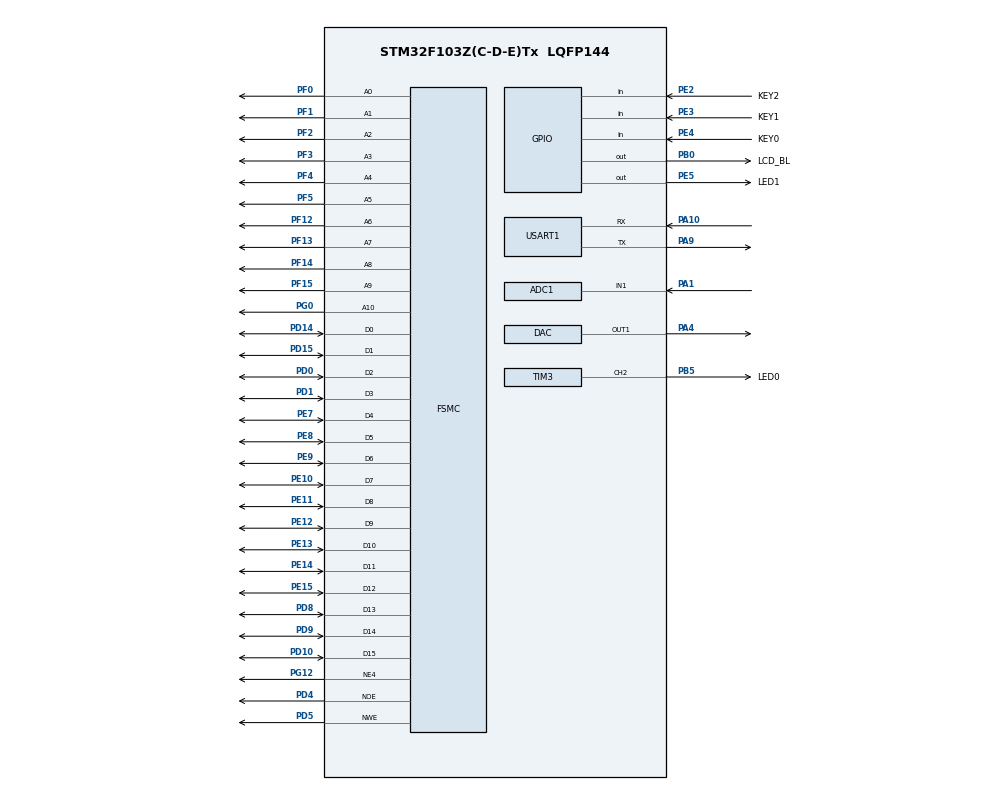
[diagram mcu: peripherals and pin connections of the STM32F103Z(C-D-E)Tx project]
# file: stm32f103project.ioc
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ADC1.Channel-0\#ChannelRegularConversion=ADC_CHANNEL_1
ADC1.ContinuousConvMode=DISABLE
ADC1.NbrOfConversionFlag=1
ADC1.Rank-0\#ChannelRegularConversion=1
ADC1.SamplingTime-0\#ChannelRegularConversion=ADC_SAMPLETIME_239CYCLES_5
ADC1.master=1
DAC.DAC_Trigger=DAC_TRIGGER_T2_TRGO
Dma.ADC1.3.Direction=DMA_PERIPH_TO_MEMORY
Dma.ADC1.3.Instance=DMA1_Channel1
Dma.ADC1.3.MemDataAlignment=DMA_MDATAALIGN_HALFWORD
Dma.ADC1.3.MemInc=DMA_MINC_ENABLE
Dma.ADC1.3.Mode=DMA_CIRCULAR
Dma.ADC1.3.PeriphDataAlignment=DMA_PDATAALIGN_HALFWORD
Dma.ADC1.3.PeriphInc=DMA_PINC_DISABLE
Dma.ADC1.3.Priority=DMA_PRIORITY_LOW
Dma.DAC_CH1.2.Direction=DMA_MEMORY_TO_PERIPH
Dma.DAC_CH1.2.Instance=DMA2_Channel3
Dma.DAC_CH1.2.MemDataAlignment=DMA_MDATAALIGN_HALFWORD
Dma.DAC_CH1.2.MemInc=DMA_MINC_ENABLE
Dma.DAC_CH1.2.Mode=DMA_CIRCULAR
Dma.DAC_CH1.2.PeriphDataAlignment=DMA_PDATAALIGN_HALFWORD
Dma.DAC_CH1.2.PeriphInc=DMA_PINC_DISABLE
Dma.DAC_CH1.2.Priority=DMA_PRIORITY_LOW
Dma.Request0=USART1_TX
Dma.Request1=USART1_RX
Dma.Request2=DAC_CH1
Dma.Request3=ADC1
Dma.USART1_RX.1.Direction=DMA_PERIPH_TO_MEMORY
Dma.USART1_RX.1.Instance=DMA1_Channel5
Dma.USART1_RX.1.MemDataAlignment=DMA_MDATAALIGN_BYTE
Dma.USART1_RX.1.MemInc=DMA_MINC_ENABLE
Dma.USART1_RX.1.Mode=DMA_CIRCULAR
Dma.USART1_RX.1.PeriphDataAlignment=DMA_PDATAALIGN_BYTE
Dma.USART1_RX.1.PeriphInc=DMA_PINC_DISABLE
Dma.USART1_RX.1.Priority=DMA_PRIORITY_LOW
Dma.USART1_TX.0.Direction=DMA_MEMORY_TO_PERIPH
Dma.USART1_TX.0.Instance=DMA1_Channel4
Dma.USART1_TX.0.MemDataAlignment=DMA_MDATAALIGN_BYTE
Dma.USART1_TX.0.MemInc=DMA_MINC_ENABLE
Dma.USART1_TX.0.Mode=DMA_NORMAL
Dma.USART1_TX.0.PeriphDataAlignment=DMA_PDATAALIGN_BYTE
Dma.USART1_TX.0.PeriphInc=DMA_PINC_DISABLE
Dma.USART1_TX.0.Priority=DMA_PRIORITY_LOW
FSMC.AddressSetupTime1=1
FSMC.BusTurnAroundDuration1=0
FSMC.DataSetupTime1=15
FSMC.WriteOperation1=FSMC_WRITE_OPERATION_ENABLE
Mcu.Family=STM32F1
Mcu.Name=STM32F103Z(C-D-E)Tx
Mcu.Package=LQFP144
NVIC.ADC1_2_IRQn=true\:0\:0\:false\:false\:true\:true\:true\:true
NVIC.DMA1_Channel1_IRQn=true\:0\:0\:false\:false\:true\:false\:true\:true
NVIC.DMA1_Channel4_IRQn=true\:0\:0\:false\:false\:true\:false\:true\:true
NVIC.DMA1_Channel5_IRQn=true\:0\:0\:false\:false\:true\:false\:true\:true
NVIC.DMA2_Channel3_IRQn=true\:0\:0\:false\:false\:true\:false\:true\:true
NVIC.PriorityGroup=NVIC_PRIORITYGROUP_4
NVIC.USART1_IRQn=true\:0\:0\:false\:false\:true\:true\:true\:true
OSC_IN.Mode=HSE-External-Oscillator
OSC_IN.Signal=RCC_OSC_IN
OSC_OUT.Mode=HSE-External-Oscillator
OSC_OUT.Signal=RCC_OSC_OUT
PA1.Signal=ADCx_IN1
PA10.Mode=Asynchronous
PA10.Signal=USART1_RX
PA13.Mode=Serial_Wire
PA13.Signal=SYS_JTMS-SWDIO
PA14.Mode=Serial_Wire
PA14.Signal=SYS_JTCK-SWCLK
PA4.Signal=COMP_DAC1_group
PA9.Mode=Asynchronous
PA9.Signal=USART1_TX
PB0.GPIO_Label=LCD_BL
PB0.GPIO_PuPd=GPIO_PULLDOWN
PB0.Signal=GPIO_Output
PB5.GPIO_Label=LED0
PB5.Signal=S_TIM3_CH2
PD0.Signal=FSMC_D2_DA2
PD1.Signal=FSMC_D3_DA3
PD10.Signal=FSMC_D15_DA15
PD14.Signal=FSMC_D0_DA0
PD15.Signal=FSMC_D1_DA1
PD4.Signal=FSMC_NOE
PD5.Signal=FSMC_NWE
PD8.Signal=FSMC_D13_DA13
PD9.Signal=FSMC_D14_DA14
PE10.Signal=FSMC_D7_DA7
PE11.Signal=FSMC_D8_DA8
PE12.Signal=FSMC_D9_DA9
PE13.Signal=FSMC_D10_DA10
PE14.Signal=FSMC_D11_DA11
PE15.Signal=FSMC_D12_DA12
PE2.GPIO_Label=KEY2
PE2.GPIO_PuPd=GPIO_PULLUP
PE2.Signal=GPIO_Input
PE3.GPIO_Label=KEY1
PE3.GPIO_PuPd=GPIO_PULLUP
PE3.Signal=GPIO_Input
PE4.GPIO_Label=KEY0
PE4.GPIO_PuPd=GPIO_PULLUP
PE4.Signal=GPIO_Input
PE5.GPIO_Label=LED1
PE5.PinState=GPIO_PIN_RESET
PE5.Signal=GPIO_Output
PE7.Signal=FSMC_D4_DA4
PE8.Signal=FSMC_D5_DA5
PE9.Signal=FSMC_D6_DA6
PF0.Signal=FSMC_A0
PF1.Signal=FSMC_A1
PF12.Signal=FSMC_A6
PF13.Signal=FSMC_A7
PF14.Signal=FSMC_A8
PF15.Signal=FSMC_A9
PF2.Signal=FSMC_A2
PF3.Signal=FSMC_A3
PF4.Signal=FSMC_A4
PF5.Signal=FSMC_A5
PG0.Signal=FSMC_A10
PG12.Mode=NorPsramChipSelect4_1
PG12.Signal=FSMC_NE4
ProjectManager.HeapSize=0x200
ProjectManager.StackSize=0x400
ProjectManager.TargetToolchain=CMake
RCC.ADCPresc=RCC_ADCPCLK2_DIV8
RCC.AHBFreq_Value=72000000
RCC.APB1CLKDivider=RCC_HCLK_DIV2
RCC.APB1Freq_Value=36000000
RCC.APB1TimFreq_Value=72000000
RCC.APB2Freq_Value=72000000
RCC.APB2TimFreq_Value=72000000
RCC.EnbaleCSS=true
RCC.HCLKFreq_Value=72000000
RCC.PLLMUL=RCC_PLL_MUL9
RCC.PLLSourceVirtual=RCC_PLLSOURCE_HSE
RCC.SYSCLKFreq_VALUE=72000000
RCC.SYSCLKSource=RCC_SYSCLKSOURCE_PLLCLK
RCC.USBFreq_Value=72000000
SH.ADCx_IN1.0=ADC1_IN1,IN1
SH.COMP_DAC1_group.0=DAC_OUT1,DAC_OUT1
SH.FSMC_A0.0=FSMC_A0,11b-a1
SH.FSMC_A1.0=FSMC_A1,11b-a1
SH.FSMC_A10.0=FSMC_A10,11b-a1
SH.FSMC_A2.0=FSMC_A2,11b-a1
SH.FSMC_A3.0=FSMC_A3,11b-a1
SH.FSMC_A4.0=FSMC_A4,11b-a1
SH.FSMC_A5.0=FSMC_A5,11b-a1
SH.FSMC_A6.0=FSMC_A6,11b-a1
SH.FSMC_A7.0=FSMC_A7,11b-a1
SH.FSMC_A8.0=FSMC_A8,11b-a1
SH.FSMC_A9.0=FSMC_A9,11b-a1
SH.FSMC_D0_DA0.0=FSMC_D0,16b-d1
SH.FSMC_D10_DA10.0=FSMC_D10,16b-d1
SH.FSMC_D11_DA11.0=FSMC_D11,16b-d1
SH.FSMC_D12_DA12.0=FSMC_D12,16b-d1
SH.FSMC_D13_DA13.0=FSMC_D13,16b-d1
SH.FSMC_D14_DA14.0=FSMC_D14,16b-d1
SH.FSMC_D15_DA15.0=FSMC_D15,16b-d1
SH.FSMC_D1_DA1.0=FSMC_D1,16b-d1
SH.FSMC_D2_DA2.0=FSMC_D2,16b-d1
SH.FSMC_D3_DA3.0=FSMC_D3,16b-d1
SH.FSMC_D4_DA4.0=FSMC_D4,16b-d1
SH.FSMC_D5_DA5.0=FSMC_D5,16b-d1
SH.FSMC_D6_DA6.0=FSMC_D6,16b-d1
SH.FSMC_D7_DA7.0=FSMC_D7,16b-d1
SH.FSMC_D8_DA8.0=FSMC_D8,16b-d1
SH.FSMC_D9_DA9.0=FSMC_D9,16b-d1
SH.FSMC_NOE.0=FSMC_NOE,Sram1
SH.FSMC_NWE.0=FSMC_NWE,Sram1
SH.S_TIM3_CH2.0=TIM3_CH2,PWM Generation2 CH2
TIM2.Period=38
TIM2.Prescaler=7
TIM2.TIM_MasterOutputTrigger=TIM_TRGO_UPDATE
TIM3.Channel-PWM\ Generation2\ CH2=TIM_CHANNEL_2
TIM3.OCPolarity_2=TIM_OCPOLARITY_LOW
TIM3.Period=999
TIM3.Prescaler=63
USART1.VirtualMode=VM_ASYNC
VP_TIM2_VS_ClockSourceINT.Mode=Internal
VP_TIM3_VS_ClockSourceINT.Mode=Internal
board=custom

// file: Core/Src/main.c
/* USER CODE BEGIN Header */
/**
  ******************************************************************************
  * @file           : main.c
  * @brief          : Main program body
  ******************************************************************************
  * @attention
  *
  * Copyright (c) 2026 STMicroelectronics.
  * All rights reserved.
  *
  * This software is licensed under terms that can be found in the LICENSE file
  * in the root directory of this software component.
  * If no LICENSE file comes with this software, it is provided AS-IS.
  *
  ******************************************************************************
  */
/* USER CODE END Header */
#include "main.h"

/* USER CODE BEGIN Includes */
#include "led.h"
#include "key.h"
#include "usart.h"
#include "adc.h"
#include "lcd.h"
#include "spectrum.h"
/* USER CODE END Includes */

SRAM_HandleTypeDef hsram1;

/* USER CODE BEGIN PV */

volatile uint32_t u32Tick = 0; // System Tick
uint16_t uChangeable_Resistor_Voltage = 0;
uint16_t uTestValue = 0;
/* USER CODE END PV */

void SystemClock_Config(void);
static void MX_GPIO_Init(void);
static void MX_DMA_Init(void);
static void MX_USART1_UART_Init(void);
static void MX_TIM3_Init(void);
static void MX_ADC1_Init(void);
static void MX_FSMC_Init(void);
static void MX_DAC_Init(void);
static void MX_TIM2_Init(void);

int main(void)
{

  /* MCU Configuration--------------------------------------------------------*/

  /* Reset of all peripherals, Initializes the Flash interface and the Systick. */
  HAL_Init();

  /* USER CODE BEGIN Init */

  // uint32_t u32LED0_Tick = 0; // 紀錄上一次LED0動作的時間
  ekeyKeyEvent ekeyEvent0; // 紀錄key0事件
  ekeyKeyEvent ekeyEvent1; // 紀錄key1事件
  eusartUSART_Cmd eusartCMD; // 紀錄串口RX收到什麼指令

  /* USER CODE END Init */

  /* Configure the system clock */
  SystemClock_Config();

  /* USER CODE BEGIN SysInit */
  LL_SYSTICK_EnableIT();
  /* USER CODE END SysInit */

  /* Initialize all configured peripherals */
  MX_GPIO_Init();
  MX_DMA_Init();
  MX_USART1_UART_Init();
  MX_TIM3_Init();
  MX_ADC1_Init();
  MX_FSMC_Init();
  MX_DAC_Init();
  MX_TIM2_Init();
  /* USER CODE BEGIN 2 */

  // LL_TIM_EnableARRPreload(TIM3);
  LL_TIM_CC_EnableChannel(TIM3,LL_TIM_CHANNEL_CH2);
  LL_TIM_EnableCounter(TIM3);
  LL_TIM_EnableCounter(TIM2);

  vusartUSART_Init();
  vusartUSART_TX_By_DMA_Init();
  vusartUSART_RX_By_DMA_Init();
  vspectrumDAC_DMA_Init();
  // vusartUSART_StartRX();

  vkeyKey_Init(KEY0_GPIO_Port, KEY0_Pin, ACTIVE_LOW, &tKey0);
  vkeyKey_Init(KEY1_GPIO_Port, KEY1_Pin, ACTIVE_LOW, &tKey1);

  vadcADC1_Init();
  vadcADC1_Read();

  vlcdLCD_Init();
  vspectrumDrawGrid();

  /* USER CODE END 2 */

  /* Infinite loop */
  /* USER CODE BEGIN WHILE */
  while (1)
  {
    /* 接收串口訊息並執行動作 */
    eusartCMD = eusartUSART_Poll();
    switch (eusartCMD)
    {
    case USART_CMD_LED_ON:
        vledLed_On(&LED1);
        vusartUSART_Print("RX test success!!!");
      break;
    case USART_CMD_UNKNOWN:
        vusartUSART_Print("unknown!");
        vusartUSART_Print("speed test");
        TRACE("trace test!!");
      break;
    default:
      break;
    }
    /* key0 key1狀態讀取以及事件發生時要執行什麼動作 */
    vkeyKey_Tick(&tKey0);
    vkeyKey_Tick(&tKey1);
    ekeyEvent0 = ekeyKey_GetEvent(&tKey0);
    ekeyEvent1 = ekeyKey_GetEvent(&tKey1);

    switch (ekeyEvent0)
    {
    case KEY_EVENT_PRESS:
      vledLed_Toggle(&LED0);
      vledLed_Toggle(&LED1);
      // vledLed_PWM_CCR_Change(0);
      // vlcdLCD_Draw_Line(0, 0, 238, 3, GREEN);
      // vspectrumUpdate_Waveform(uspectrumSin_Table);
      // vlcdLCD_Clear(BLUE);
      // vusartUSART_Print("voltage : %d mV", uChangeable_Resistor_Voltage);
      // vusartUSART_Print("Test Value : %d", uTestValue); // if value = 255 means error existing!
      break;
    case KEY_EVENT_LONG_PRESS:
      vledLed_Off(&LED0);
      vledLed_Off(&LED1);
      // vledLed_PWM_CCR_Change(100);
      // vusartUSART_Print("long press test");
      break;
    case KEY_EVENT_RELEASE:
      break;
    default:
      break;
    }

    switch (ekeyEvent1)
    {
    case KEY_EVENT_PRESS:
      vledLed_Toggle(&LED0);
      vledLed_Toggle(&LED1);
      // vusartUSART_Print("LCD ID : 0x%x", tlcdLCDInfo.id);
      // vusartUSART_Print("voltage : %d mV", uChangeable_Resistor_Voltage);
      // vledLed_Off(&LED1);
      break;
    case KEY_EVENT_LONG_PRESS:
      vledLed_Off(&LED0);
      vledLed_Off(&LED1);
      // vledLed_Toggle(&LED1);
      break;
    case KEY_EVENT_RELEASE:
      break;
    default:
      break;
    }

    uChangeable_Resistor_Voltage = uadcADC1_GetVoltage();
    vadcADC1_Read();
    /* USER CODE END WHILE */

  }
}

void SystemClock_Config(void)
{
  LL_FLASH_SetLatency(LL_FLASH_LATENCY_2);
  while(LL_FLASH_GetLatency()!= LL_FLASH_LATENCY_2)
  {
  }
  LL_RCC_HSE_Enable();

   /* Wait till HSE is ready */
  while(LL_RCC_HSE_IsReady() != 1)
  {

  }
  LL_RCC_HSE_EnableCSS();
  LL_RCC_PLL_ConfigDomain_SYS(LL_RCC_PLLSOURCE_HSE_DIV_1, LL_RCC_PLL_MUL_9);
  LL_RCC_PLL_Enable();

   /* Wait till PLL is ready */
  while(LL_RCC_PLL_IsReady() != 1)
  {

  }
  LL_RCC_SetAHBPrescaler(LL_RCC_SYSCLK_DIV_1);
  LL_RCC_SetAPB1Prescaler(LL_RCC_APB1_DIV_2);
  LL_RCC_SetAPB2Prescaler(LL_RCC_APB2_DIV_1);
  LL_RCC_SetSysClkSource(LL_RCC_SYS_CLKSOURCE_PLL);

   /* Wait till System clock is ready */
  while(LL_RCC_GetSysClkSource() != LL_RCC_SYS_CLKSOURCE_STATUS_PLL)
  {

  }
  LL_SetSystemCoreClock(72000000);

   /* Update the time base */
  if (HAL_InitTick (TICK_INT_PRIORITY) != HAL_OK)
  {
    Error_Handler();
  }
  LL_RCC_SetADCClockSource(LL_RCC_ADC_CLKSRC_PCLK2_DIV_8);
}

static void MX_ADC1_Init(void)
{

  LL_ADC_InitTypeDef ADC_InitStruct = {0};
  LL_ADC_CommonInitTypeDef ADC_CommonInitStruct = {0};
  LL_ADC_REG_InitTypeDef ADC_REG_InitStruct = {0};

  LL_GPIO_InitTypeDef GPIO_InitStruct = {0};

  /* Peripheral clock enable */
  LL_APB2_GRP1_EnableClock(LL_APB2_GRP1_PERIPH_ADC1);

  LL_APB2_GRP1_EnableClock(LL_APB2_GRP1_PERIPH_GPIOA);
  /**ADC1 GPIO Configuration
  PA1   ------> ADC1_IN1
  */
  GPIO_InitStruct.Pin = LL_GPIO_PIN_1;
  GPIO_InitStruct.Mode = LL_GPIO_MODE_ANALOG;
  LL_GPIO_Init(GPIOA, &GPIO_InitStruct);

  /* ADC1 DMA Init */

  /* ADC1 Init */
  LL_DMA_SetDataTransferDirection(DMA1, LL_DMA_CHANNEL_1, LL_DMA_DIRECTION_PERIPH_TO_MEMORY);

  LL_DMA_SetChannelPriorityLevel(DMA1, LL_DMA_CHANNEL_1, LL_DMA_PRIORITY_LOW);

  LL_DMA_SetMode(DMA1, LL_DMA_CHANNEL_1, LL_DMA_MODE_CIRCULAR);

  LL_DMA_SetPeriphIncMode(DMA1, LL_DMA_CHANNEL_1, LL_DMA_PERIPH_NOINCREMENT);

  LL_DMA_SetMemoryIncMode(DMA1, LL_DMA_CHANNEL_1, LL_DMA_MEMORY_INCREMENT);

  LL_DMA_SetPeriphSize(DMA1, LL_DMA_CHANNEL_1, LL_DMA_PDATAALIGN_HALFWORD);

  LL_DMA_SetMemorySize(DMA1, LL_DMA_CHANNEL_1, LL_DMA_MDATAALIGN_HALFWORD);

  /* ADC1 interrupt Init */
  NVIC_SetPriority(ADC1_2_IRQn, NVIC_EncodePriority(NVIC_GetPriorityGrouping(),0, 0));
  NVIC_EnableIRQ(ADC1_2_IRQn);

  /** Common config
  */
  ADC_InitStruct.DataAlignment = LL_ADC_DATA_ALIGN_RIGHT;
  ADC_InitStruct.SequencersScanMode = LL_ADC_SEQ_SCAN_DISABLE;
  LL_ADC_Init(ADC1, &ADC_InitStruct);
  ADC_CommonInitStruct.Multimode = LL_ADC_MULTI_INDEPENDENT;
  LL_ADC_CommonInit(__LL_ADC_COMMON_INSTANCE(ADC1), &ADC_CommonInitStruct);
  ADC_REG_InitStruct.TriggerSource = LL_ADC_REG_TRIG_SOFTWARE;
  ADC_REG_InitStruct.SequencerLength = LL_ADC_REG_SEQ_SCAN_DISABLE;
  ADC_REG_InitStruct.SequencerDiscont = LL_ADC_REG_SEQ_DISCONT_DISABLE;
  ADC_REG_InitStruct.ContinuousMode = LL_ADC_REG_CONV_SINGLE;
  ADC_REG_InitStruct.DMATransfer = LL_ADC_REG_DMA_TRANSFER_UNLIMITED;
  LL_ADC_REG_Init(ADC1, &ADC_REG_InitStruct);

  /** Configure Regular Channel
  */
  LL_ADC_REG_SetSequencerRanks(ADC1, LL_ADC_REG_RANK_1, LL_ADC_CHANNEL_1);
  LL_ADC_SetChannelSamplingTime(ADC1, LL_ADC_CHANNEL_1, LL_ADC_SAMPLINGTIME_239CYCLES_5);

}

static void MX_DAC_Init(void)
{

  LL_DAC_InitTypeDef DAC_InitStruct = {0};

  LL_GPIO_InitTypeDef GPIO_InitStruct = {0};

  /* Peripheral clock enable */
  LL_APB1_GRP1_EnableClock(LL_APB1_GRP1_PERIPH_DAC1);

  LL_APB2_GRP1_EnableClock(LL_APB2_GRP1_PERIPH_GPIOA);
  /**DAC GPIO Configuration
  PA4   ------> DAC_OUT1
  */
  GPIO_InitStruct.Pin = LL_GPIO_PIN_4;
  GPIO_InitStruct.Mode = LL_GPIO_MODE_ANALOG;
  LL_GPIO_Init(GPIOA, &GPIO_InitStruct);

  /* DAC DMA Init */

  /* DAC_CH1 Init */
  LL_DMA_SetDataTransferDirection(DMA2, LL_DMA_CHANNEL_3, LL_DMA_DIRECTION_MEMORY_TO_PERIPH);

  LL_DMA_SetChannelPriorityLevel(DMA2, LL_DMA_CHANNEL_3, LL_DMA_PRIORITY_LOW);

  LL_DMA_SetMode(DMA2, LL_DMA_CHANNEL_3, LL_DMA_MODE_CIRCULAR);

  LL_DMA_SetPeriphIncMode(DMA2, LL_DMA_CHANNEL_3, LL_DMA_PERIPH_NOINCREMENT);

  LL_DMA_SetMemoryIncMode(DMA2, LL_DMA_CHANNEL_3, LL_DMA_MEMORY_INCREMENT);

  LL_DMA_SetPeriphSize(DMA2, LL_DMA_CHANNEL_3, LL_DMA_PDATAALIGN_HALFWORD);

  LL_DMA_SetMemorySize(DMA2, LL_DMA_CHANNEL_3, LL_DMA_MDATAALIGN_HALFWORD);

  /** DAC channel OUT1 config
  */
  DAC_InitStruct.TriggerSource = LL_DAC_TRIG_EXT_TIM2_TRGO;
  DAC_InitStruct.WaveAutoGeneration = LL_DAC_WAVE_AUTO_GENERATION_NONE;
  DAC_InitStruct.OutputBuffer = LL_DAC_OUTPUT_BUFFER_ENABLE;
  LL_DAC_Init(DAC, LL_DAC_CHANNEL_1, &DAC_InitStruct);
  LL_DAC_EnableTrigger(DAC, LL_DAC_CHANNEL_1);

}

static void MX_TIM2_Init(void)
{

  LL_TIM_InitTypeDef TIM_InitStruct = {0};

  /* Peripheral clock enable */
  LL_APB1_GRP1_EnableClock(LL_APB1_GRP1_PERIPH_TIM2);

  TIM_InitStruct.Prescaler = 7;
  TIM_InitStruct.CounterMode = LL_TIM_COUNTERMODE_UP;
  TIM_InitStruct.Autoreload = 38;
  TIM_InitStruct.ClockDivision = LL_TIM_CLOCKDIVISION_DIV1;
  LL_TIM_Init(TIM2, &TIM_InitStruct);
  LL_TIM_DisableARRPreload(TIM2);
  LL_TIM_SetClockSource(TIM2, LL_TIM_CLOCKSOURCE_INTERNAL);
  LL_TIM_SetTriggerOutput(TIM2, LL_TIM_TRGO_UPDATE);
  LL_TIM_DisableMasterSlaveMode(TIM2);

}

static void MX_TIM3_Init(void)
{

  LL_TIM_InitTypeDef TIM_InitStruct = {0};
  LL_TIM_OC_InitTypeDef TIM_OC_InitStruct = {0};

  LL_GPIO_InitTypeDef GPIO_InitStruct = {0};

  /* Peripheral clock enable */
  LL_APB1_GRP1_EnableClock(LL_APB1_GRP1_PERIPH_TIM3);

  TIM_InitStruct.Prescaler = 63;
  TIM_InitStruct.CounterMode = LL_TIM_COUNTERMODE_UP;
  TIM_InitStruct.Autoreload = 999;
  TIM_InitStruct.ClockDivision = LL_TIM_CLOCKDIVISION_DIV1;
  LL_TIM_Init(TIM3, &TIM_InitStruct);
  LL_TIM_DisableARRPreload(TIM3);
  LL_TIM_SetClockSource(TIM3, LL_TIM_CLOCKSOURCE_INTERNAL);
  LL_TIM_OC_EnablePreload(TIM3, LL_TIM_CHANNEL_CH2);
  TIM_OC_InitStruct.OCMode = LL_TIM_OCMODE_PWM1;
  TIM_OC_InitStruct.OCState = LL_TIM_OCSTATE_DISABLE;
  TIM_OC_InitStruct.OCNState = LL_TIM_OCSTATE_DISABLE;
  TIM_OC_InitStruct.CompareValue = 0;
  TIM_OC_InitStruct.OCPolarity = LL_TIM_OCPOLARITY_LOW;
  LL_TIM_OC_Init(TIM3, LL_TIM_CHANNEL_CH2, &TIM_OC_InitStruct);
  LL_TIM_OC_DisableFast(TIM3, LL_TIM_CHANNEL_CH2);
  LL_TIM_SetTriggerOutput(TIM3, LL_TIM_TRGO_RESET);
  LL_TIM_DisableMasterSlaveMode(TIM3);
  LL_APB2_GRP1_EnableClock(LL_APB2_GRP1_PERIPH_GPIOB);
  /**TIM3 GPIO Configuration
  PB5   ------> TIM3_CH2
  */
  GPIO_InitStruct.Pin = LED0_Pin;
  GPIO_InitStruct.Mode = LL_GPIO_MODE_ALTERNATE;
  GPIO_InitStruct.Speed = LL_GPIO_SPEED_FREQ_LOW;
  GPIO_InitStruct.OutputType = LL_GPIO_OUTPUT_PUSHPULL;
  LL_GPIO_Init(LED0_GPIO_Port, &GPIO_InitStruct);

  LL_GPIO_AF_RemapPartial_TIM3();

}

static void MX_USART1_UART_Init(void)
{

  LL_USART_InitTypeDef USART_InitStruct = {0};

  LL_GPIO_InitTypeDef GPIO_InitStruct = {0};

  /* Peripheral clock enable */
  LL_APB2_GRP1_EnableClock(LL_APB2_GRP1_PERIPH_USART1);

  LL_APB2_GRP1_EnableClock(LL_APB2_GRP1_PERIPH_GPIOA);
  /**USART1 GPIO Configuration
  PA9   ------> USART1_TX
  PA10   ------> USART1_RX
  */
  GPIO_InitStruct.Pin = LL_GPIO_PIN_9;
  GPIO_InitStruct.Mode = LL_GPIO_MODE_ALTERNATE;
  GPIO_InitStruct.Speed = LL_GPIO_SPEED_FREQ_HIGH;
  GPIO_InitStruct.OutputType = LL_GPIO_OUTPUT_PUSHPULL;
  LL_GPIO_Init(GPIOA, &GPIO_InitStruct);

  GPIO_InitStruct.Pin = LL_GPIO_PIN_10;
  GPIO_InitStruct.Mode = LL_GPIO_MODE_FLOATING;
  LL_GPIO_Init(GPIOA, &GPIO_InitStruct);

  /* USART1 DMA Init */

  /* USART1_TX Init */
  LL_DMA_SetDataTransferDirection(DMA1, LL_DMA_CHANNEL_4, LL_DMA_DIRECTION_MEMORY_TO_PERIPH);

  LL_DMA_SetChannelPriorityLevel(DMA1, LL_DMA_CHANNEL_4, LL_DMA_PRIORITY_LOW);

  LL_DMA_SetMode(DMA1, LL_DMA_CHANNEL_4, LL_DMA_MODE_NORMAL);

  LL_DMA_SetPeriphIncMode(DMA1, LL_DMA_CHANNEL_4, LL_DMA_PERIPH_NOINCREMENT);

  LL_DMA_SetMemoryIncMode(DMA1, LL_DMA_CHANNEL_4, LL_DMA_MEMORY_INCREMENT);

  LL_DMA_SetPeriphSize(DMA1, LL_DMA_CHANNEL_4, LL_DMA_PDATAALIGN_BYTE);

  LL_DMA_SetMemorySize(DMA1, LL_DMA_CHANNEL_4, LL_DMA_MDATAALIGN_BYTE);

  /* USART1_RX Init */
  LL_DMA_SetDataTransferDirection(DMA1, LL_DMA_CHANNEL_5, LL_DMA_DIRECTION_PERIPH_TO_MEMORY);

  LL_DMA_SetChannelPriorityLevel(DMA1, LL_DMA_CHANNEL_5, LL_DMA_PRIORITY_LOW);

  LL_DMA_SetMode(DMA1, LL_DMA_CHANNEL_5, LL_DMA_MODE_CIRCULAR);

  LL_DMA_SetPeriphIncMode(DMA1, LL_DMA_CHANNEL_5, LL_DMA_PERIPH_NOINCREMENT);

  LL_DMA_SetMemoryIncMode(DMA1, LL_DMA_CHANNEL_5, LL_DMA_MEMORY_INCREMENT);

  LL_DMA_SetPeriphSize(DMA1, LL_DMA_CHANNEL_5, LL_DMA_PDATAALIGN_BYTE);

  LL_DMA_SetMemorySize(DMA1, LL_DMA_CHANNEL_5, LL_DMA_MDATAALIGN_BYTE);

  /* USART1 interrupt Init */
  NVIC_SetPriority(USART1_IRQn, NVIC_EncodePriority(NVIC_GetPriorityGrouping(),0, 0));
  NVIC_EnableIRQ(USART1_IRQn);

  USART_InitStruct.BaudRate = 115200;
  USART_InitStruct.DataWidth = LL_USART_DATAWIDTH_8B;
  USART_InitStruct.StopBits = LL_USART_STOPBITS_1;
  USART_InitStruct.Parity = LL_USART_PARITY_NONE;
  USART_InitStruct.TransferDirection = LL_USART_DIRECTION_TX_RX;
  USART_InitStruct.HardwareFlowControl = LL_USART_HWCONTROL_NONE;
  USART_InitStruct.OverSampling = LL_USART_OVERSAMPLING_16;
  LL_USART_Init(USART1, &USART_InitStruct);
  LL_USART_ConfigAsyncMode(USART1);
  LL_USART_Enable(USART1);

}

static void MX_DMA_Init(void)
{

  /* Init with LL driver */
  /* DMA controller clock enable */
  LL_AHB1_GRP1_EnableClock(LL_AHB1_GRP1_PERIPH_DMA1);
  LL_AHB1_GRP1_EnableClock(LL_AHB1_GRP1_PERIPH_DMA2);

  /* DMA interrupt init */
  /* DMA1_Channel1_IRQn interrupt configuration */
  NVIC_SetPriority(DMA1_Channel1_IRQn, NVIC_EncodePriority(NVIC_GetPriorityGrouping(),0, 0));
  NVIC_EnableIRQ(DMA1_Channel1_IRQn);
  /* DMA1_Channel4_IRQn interrupt configuration */
  NVIC_SetPriority(DMA1_Channel4_IRQn, NVIC_EncodePriority(NVIC_GetPriorityGrouping(),0, 0));
  NVIC_EnableIRQ(DMA1_Channel4_IRQn);
  /* DMA1_Channel5_IRQn interrupt configuration */
  NVIC_SetPriority(DMA1_Channel5_IRQn, NVIC_EncodePriority(NVIC_GetPriorityGrouping(),0, 0));
  NVIC_EnableIRQ(DMA1_Channel5_IRQn);
  /* DMA2_Channel3_IRQn interrupt configuration */
  NVIC_SetPriority(DMA2_Channel3_IRQn, NVIC_EncodePriority(NVIC_GetPriorityGrouping(),0, 0));
  NVIC_EnableIRQ(DMA2_Channel3_IRQn);

}

static void MX_GPIO_Init(void)
{
  LL_GPIO_InitTypeDef GPIO_InitStruct = {0};

  /* GPIO Ports Clock Enable */
  LL_APB2_GRP1_EnableClock(LL_APB2_GRP1_PERIPH_GPIOE);
  LL_APB2_GRP1_EnableClock(LL_APB2_GRP1_PERIPH_GPIOF);
  LL_APB2_GRP1_EnableClock(LL_APB2_GRP1_PERIPH_GPIOA);
  LL_APB2_GRP1_EnableClock(LL_APB2_GRP1_PERIPH_GPIOB);
  LL_APB2_GRP1_EnableClock(LL_APB2_GRP1_PERIPH_GPIOG);
  LL_APB2_GRP1_EnableClock(LL_APB2_GRP1_PERIPH_GPIOD);

  /**/
  LL_GPIO_ResetOutputPin(LED1_GPIO_Port, LED1_Pin);

  /**/
  LL_GPIO_ResetOutputPin(LCD_BL_GPIO_Port, LCD_BL_Pin);

  /**/
  GPIO_InitStruct.Pin = KEY2_Pin|KEY1_Pin|KEY0_Pin;
  GPIO_InitStruct.Mode = LL_GPIO_MODE_INPUT;
  GPIO_InitStruct.Pull = LL_GPIO_PULL_UP;
  LL_GPIO_Init(GPIOE, &GPIO_InitStruct);

  /**/
  GPIO_InitStruct.Pin = LED1_Pin;
  GPIO_InitStruct.Mode = LL_GPIO_MODE_OUTPUT;
  GPIO_InitStruct.Speed = LL_GPIO_SPEED_FREQ_LOW;
  GPIO_InitStruct.OutputType = LL_GPIO_OUTPUT_PUSHPULL;
  LL_GPIO_Init(LED1_GPIO_Port, &GPIO_InitStruct);

  /**/
  GPIO_InitStruct.Pin = LCD_BL_Pin;
  GPIO_InitStruct.Mode = LL_GPIO_MODE_OUTPUT;
  GPIO_InitStruct.Speed = LL_GPIO_SPEED_FREQ_LOW;
  GPIO_InitStruct.OutputType = LL_GPIO_OUTPUT_PUSHPULL;
  GPIO_InitStruct.Pull = LL_GPIO_PULL_DOWN;
  LL_GPIO_Init(LCD_BL_GPIO_Port, &GPIO_InitStruct);

}

/* FSMC initialization function */
static void MX_FSMC_Init(void)
{

  FSMC_NORSRAM_TimingTypeDef Timing = {0};

  /** Perform the SRAM1 memory initialization sequence
  */
  hsram1.Instance = FSMC_NORSRAM_DEVICE;
  hsram1.Extended = FSMC_NORSRAM_EXTENDED_DEVICE;
  /* hsram1.Init */
  hsram1.Init.NSBank = FSMC_NORSRAM_BANK4;
  hsram1.Init.DataAddressMux = FSMC_DATA_ADDRESS_MUX_DISABLE;
  hsram1.Init.MemoryType = FSMC_MEMORY_TYPE_SRAM;
  hsram1.Init.MemoryDataWidth = FSMC_NORSRAM_MEM_BUS_WIDTH_16;
  hsram1.Init.BurstAccessMode = FSMC_BURST_ACCESS_MODE_DISABLE;
  hsram1.Init.WaitSignalPolarity = FSMC_WAIT_SIGNAL_POLARITY_LOW;
  hsram1.Init.WrapMode = FSMC_WRAP_MODE_DISABLE;
  hsram1.Init.WaitSignalActive = FSMC_WAIT_TIMING_BEFORE_WS;
  hsram1.Init.WriteOperation = FSMC_WRITE_OPERATION_ENABLE;
  hsram1.Init.WaitSignal = FSMC_WAIT_SIGNAL_DISABLE;
  hsram1.Init.ExtendedMode = FSMC_EXTENDED_MODE_DISABLE;
  hsram1.Init.AsynchronousWait = FSMC_ASYNCHRONOUS_WAIT_DISABLE;
  hsram1.Init.WriteBurst = FSMC_WRITE_BURST_DISABLE;
  /* Timing */
  Timing.AddressSetupTime = 1;
  Timing.AddressHoldTime = 15;
  Timing.DataSetupTime = 15;
  Timing.BusTurnAroundDuration = 0;
  Timing.CLKDivision = 16;
  Timing.DataLatency = 17;
  Timing.AccessMode = FSMC_ACCESS_MODE_A;
  /* ExtTiming */

  if (HAL_SRAM_Init(&hsram1, &Timing, NULL) != HAL_OK)
  {
    Error_Handler( );
  }

  /** Disconnect NADV
  */

  __HAL_AFIO_FSMCNADV_DISCONNECTED();

}

/* USER CODE BEGIN 4 */

/**
  * @brief Get System Tick
  * @param None
  * @retval None
  */
uint32_t u32GetTick(void){
  return u32Tick;
}

void vIncTick(void){
  u32Tick++;
}
/* USER CODE END 4 */

void Error_Handler(void)
{
  /* USER CODE BEGIN Error_Handler_Debug */
//   /* User can add his own implementation to report the HAL error return state */
  uTestValue = 255;
  // __disable_irq();
//   while (1)
//   {
//   }
  /* USER CODE END Error_Handler_Debug */
}
#ifdef USE_FULL_ASSERT
/**
  * @brief  Reports the name of the source file and the source line number
  *         where the assert_param error has occurred.
  * @param  file: pointer to the source file name
  * @param  line: assert_param error line source number
  * @retval None
  */
void assert_failed(uint8_t *file, uint32_t line)
{
  /* USER CODE BEGIN 6 */
//   /* User can add his own implementation to report the file name and line number,
//      ex: printf("Wrong parameters value: file %s on line %d\r\n", file, line) */
  /* USER CODE END 6 */
}
#endif /* USE_FULL_ASSERT */
